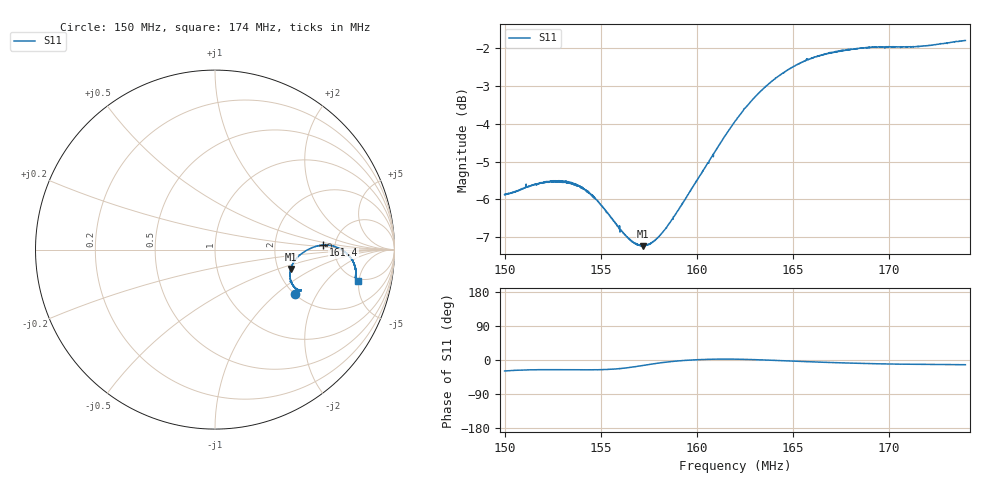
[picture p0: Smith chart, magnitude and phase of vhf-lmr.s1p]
! Calibrated averaged scanner-service zoom
# Hz S RI R 50
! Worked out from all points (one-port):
!   2001 points, 150 MHz to 174 MHz, reference 50 ohm
!   lowest |S11| = -7.2 dB at 157.2 MHz (marker M1), VSWR 2.54, Z = 117 - j31.1 ohm
!   |S11| at or under -10 dB: nowhere
!   S11 on the Smith chart (normalised r, x): 150 MHz: 2.02, -1.34; 161.4 MHz: 4.02, +0.31; 174 MHz: 4.63, -4.81
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1.5e8  0.4454 -0.2455
1.50648e8  0.4584 -0.2344
1.51524e8  0.4722 -0.2282
1.52364e8  0.4773 -0.2269
1.53e8  0.4766 -0.2268
1.53924e8  0.47 -0.2265
1.5474e8  0.4523 -0.2184
1.55376e8  0.4368 -0.2014
1.56e8  0.4215 -0.1796
1.56684e8  0.4173 -0.1398
1.57212e8  0.4211 -0.108
1.5756e8  0.4282 -0.0877
1.57956e8  0.4404 -0.0661
1.58424e8  0.4573 -0.044
1.59e8  0.4831 -0.022
1.59648e8  0.5136 -0.00231
1.60344e8  0.5477 0.0126
1.61388e8  0.603 0.0247
1.62e8  0.6353 0.0245
1.62708e8  0.6699 0.0162
1.63464e8  0.7021 0.00164
1.6422e8  0.7281 -0.0165
1.65e8  0.7491 -0.0371
1.66236e8  0.7711 -0.0714
1.68e8  0.7831 -0.1126
1.69476e8  0.7856 -0.1387
1.71e8  0.7833 -0.1548
1.74e8  0.7945 -0.1755
